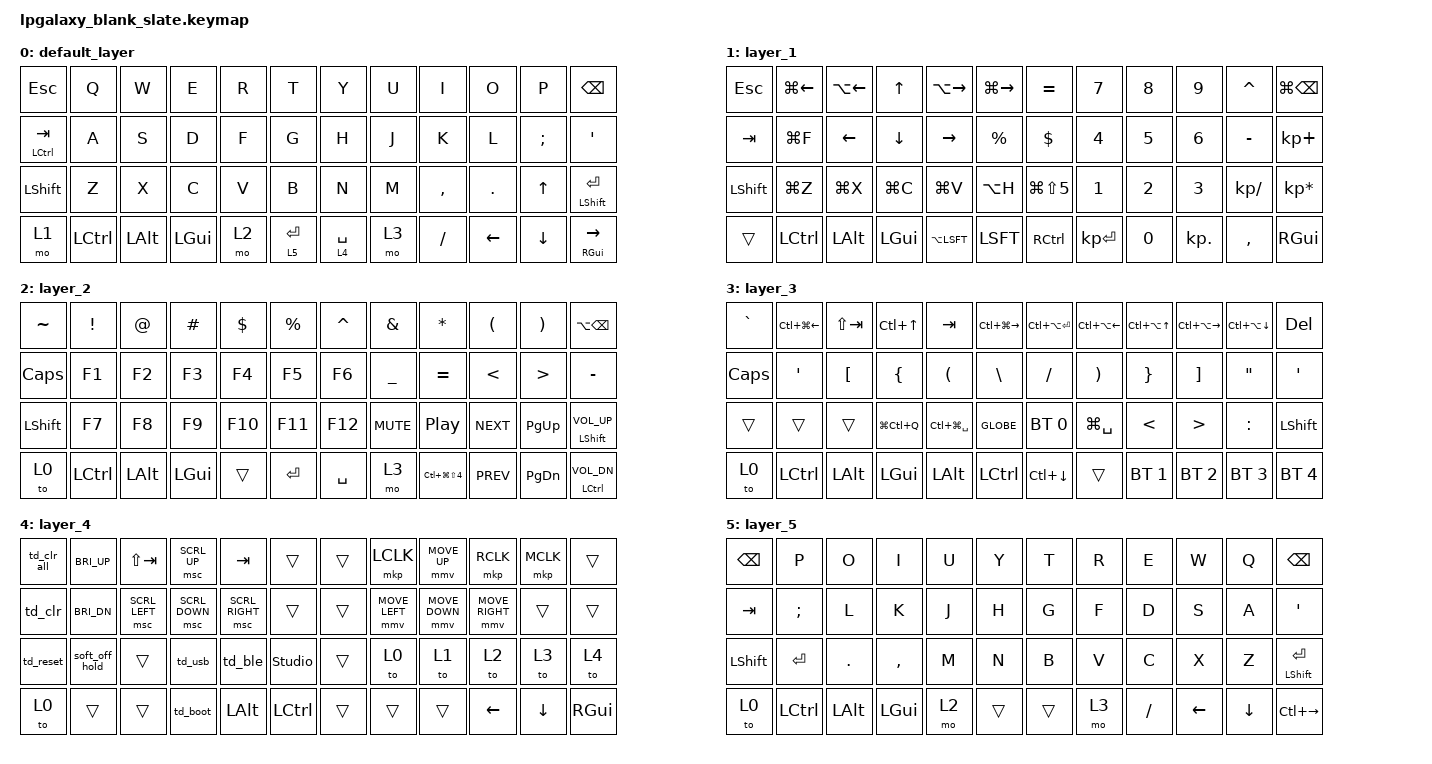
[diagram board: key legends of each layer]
#include <behaviors.dtsi>
#include <dt-bindings/zmk/keys.h>
#include <dt-bindings/zmk/modifiers.h>
/* Project override: increase default max velocities for pointing macros */
#define ZMK_POINTING_DEFAULT_MOVE_VAL 1400  /* default 600 */
#define ZMK_POINTING_DEFAULT_SCRL_VAL 35    /* default 10 */
#include <dt-bindings/zmk/pointing.h>
#include <dt-bindings/zmk/bt.h>
#include <dt-bindings/zmk/outputs.h>
#include <zephyr/dt-bindings/gpio/gpio.h>

/* -----------------------------------------------------
 * Custom key aliases
 * --------------------------------------------------- */
#define SNAP_LEFT      LC(LA(LEFT))
#define SNAP_RIGHT     LC(LA(RIGHT))
#define SNAP_UP        LC(LA(UP))
#define SNAP_DOWN      LC(LA(DOWN))
/* Fill is remapped to Ctrl+Option+Return on the host Mac. */
#define SNAP_FILL      LC(LA(RET))
#define DESK_LEFT      LC(LG(LEFT))
#define DESK_RIGHT     LC(LG(RIGHT))
#define SLEEP_LOCK     LG(LC(Q))
/* Alt+H is mapped to the screenshot tool on the host computer. */
#define SCREENSHOT     LA(H)
/* Ctrl+Cmd+Space shows the macOS Character Viewer, which includes emoji. */
#define EMOJI          LC(LG(SPACE))
#define APP_EXPOSE     LC(DOWN)
#define SHOT_TOOLBAR   LG(LS(N5))
#define SHOT_CLIP      LC(LG(LS(N4)))

/* -----------------------------------------------------
 * Mouse movement / scroll tuning
 * --------------------------------------------------- */
&mmv {
    time-to-max-speed-ms = <250>;      // faster acceleration ramp (default 300)
    acceleration-exponent = <1>;       // linear response (try 1.3–1.5 for smoother)
};

&msc {
    time-to-max-speed-ms = <200>;
    acceleration-exponent = <1>;
};

&lt {
    quick-tap-ms = <200>;
};

&mt {
    quick-tap-ms = <200>;
    tapping-term-ms = <180>;
};

/ {
    behaviors {
        /* Hold for 1 second so soft-off cannot be pressed by accident. */
        soft_off_hold: soft_off_hold {
            compatible = "zmk,behavior-soft-off";
            #binding-cells = <0>;
            hold-time-ms = <1000>;
        };

        /* A single tap does nothing; a second tap within 300 ms runs the action. */
        td_boot: td_boot {
            compatible = "zmk,behavior-tap-dance";
            #binding-cells = <0>;
            tapping-term-ms = <300>;
            bindings = <&none>, <&bootloader>;
        };
        td_reset: td_reset {
            compatible = "zmk,behavior-tap-dance";
            #binding-cells = <0>;
            tapping-term-ms = <300>;
            bindings = <&none>, <&sys_reset>;
        };
        td_clr_all: td_clr_all {
            compatible = "zmk,behavior-tap-dance";
            #binding-cells = <0>;
            tapping-term-ms = <300>;
            bindings = <&none>, <&bt BT_CLR_ALL>;
        };
        td_clr: td_clr {
            compatible = "zmk,behavior-tap-dance";
            #binding-cells = <0>;
            tapping-term-ms = <300>;
            bindings = <&none>, <&bt BT_CLR>;
        };
        td_usb: td_usb {
            compatible = "zmk,behavior-tap-dance";
            #binding-cells = <0>;
            tapping-term-ms = <300>;
            bindings = <&none>, <&out OUT_USB>;
        };
        td_ble: td_ble {
            compatible = "zmk,behavior-tap-dance";
            #binding-cells = <0>;
            tapping-term-ms = <300>;
            bindings = <&none>, <&out OUT_BLE>;
        };
    };
};

/ {
    keys {
        wakeup_key_n: wakeup_key_n {
            gpios = <&gpio0 5 (GPIO_ACTIVE_HIGH | GPIO_PULL_DOWN)>;
        };
    };

    /* N wakes the board from soft off, in addition to the dedicated button. */
    wakeup_n: wakeup_n {
        compatible = "zmk,gpio-key-wakeup-trigger";
        trigger = <&wakeup_key_n>;
        wakeup-source;
        extra-gpios = <&gpio0 6 GPIO_ACTIVE_HIGH>;
    };

    soft_off_wakers {
        wakeup-sources = <&wakeup_source &wakeup_n>;
    };
};

/* -----------------------------------------------------
 * Layers
 * --------------------------------------------------- */
 / {
    keymap {
        compatible = "zmk,keymap";

        /* ---------------------- Layer 0: Base ---------------------- */
        default_layer {
            bindings = <
                &kp ESC         &kp Q         &kp W          &kp E          &kp R           &kp T        &kp Y           &kp U        &kp I             &kp O           &kp P           &kp BKSP
                &mt LCTRL TAB   &kp A         &kp S          &kp D          &kp F           &kp G        &kp H           &kp J        &kp K             &kp L           &kp SEMI        &kp QUOT
                &kp LSHFT       &kp Z         &kp X          &kp C          &kp V           &kp B        &kp N           &kp M        &kp COMMA         &kp DOT         &kp UP          &mt LSHFT RET
                &mo 1           &kp LCTRL     &kp LALT       &kp LGUI       &mo 2           &lt 5 RET    &lt 4 SPACE     &mo 3        &kp FSLH          &kp LEFT        &kp DOWN        &mt RGUI RIGHT
            >;
        };

        /* ---------------------- Layer 1: Numbers / Nav ---------------------- */
        layer_1 {
            bindings = <
                &kp ESC         &kp LG(LEFT)  &kp LA(LEFT)   &kp UP         &kp LA(RIGHT)   &kp LG(RIGHT) &kp EQUAL       &kp N7        &kp N8           &kp N9          &kp CARET       &kp LG(BKSP)
                &kp TAB         &kp LG(F)     &kp LEFT       &kp DOWN       &kp RIGHT       &kp PRCNT    &kp DLLR        &kp N4        &kp N5           &kp N6          &kp MINUS       &kp KP_PLUS
                &kp LSHFT       &kp LG(Z)     &kp LG(X)      &kp LG(C)      &kp LG(V)       &kp SCREENSHOT &kp SHOT_TOOLBAR &kp N1        &kp N2           &kp N3          &kp KP_SLASH    &kp KP_MULTIPLY
                &trans          &kp LCTRL     &kp LALT       &kp LGUI       &kp LA(LSFT)    &kp LSFT     &kp RCTRL       &kp KP_ENTER  &kp N0           &kp KP_DOT      &kp COMMA       &kp RGUI
            >;
        };

        /* ---------------------- Layer 2: Symbols / Media ---------------------- */
        layer_2 {
            bindings = <
                &kp TILDE       &kp EXCL      &kp AT         &kp HASH       &kp DLLR        &kp PRCNT    &kp CARET       &kp AMPS      &kp STAR         &kp LPAR        &kp RPAR        &kp LA(BKSP)
                &kp CAPS        &kp F1        &kp F2         &kp F3         &kp F4          &kp F5       &kp F6          &kp UNDER     &kp EQUAL        &kp LT          &kp GT          &kp MINUS
                &kp LSHFT       &kp F7        &kp F8         &kp F9         &kp F10         &kp F11      &kp F12         &kp C_MUTE    &kp C_PLAY_PAUSE &kp C_NEXT      &kp PG_UP       &mt LSHFT C_VOL_UP
                &to 0           &kp LCTRL     &kp LALT       &kp LGUI       &trans          &kp RET      &kp SPACE       &mo 3         &kp SHOT_CLIP    &kp C_PREV      &kp PG_DN       &mt LCTRL C_VOL_DN
            >;
        };

        /* ---------------------- Layer 3: Window / BT ---------------------- */
        layer_3 {
            bindings = <
                &kp GRAVE       &kp DESK_LEFT &kp LS(TAB)    &kp LC(UP)     &kp TAB         &kp DESK_RIGHT &kp SNAP_FILL &kp SNAP_LEFT &kp SNAP_UP      &kp SNAP_RIGHT  &kp SNAP_DOWN   &kp DEL
                &kp CAPS        &kp QUOT      &kp LBKT       &kp LBRC       &kp LPAR        &kp BSLH       &kp FSLH      &kp RPAR      &kp RBRC         &kp RBKT        &kp DQT         &kp QUOT
                &trans          &trans        &trans         &kp SLEEP_LOCK &kp EMOJI       &kp GLOBE      &bt BT_SEL 0  &kp LG(SPACE) &kp LT           &kp GT          &kp COLON       &kp LSHFT
                &to 0           &kp LCTRL     &kp LALT       &kp LGUI       &kp LALT        &kp LCTRL      &kp APP_EXPOSE &trans        &bt BT_SEL 1     &bt BT_SEL 2    &bt BT_SEL 3    &bt BT_SEL 4
            >;
        };

        /* ---------------------- Layer 4: Mouse ---------------------- */
        layer_4 {
            bindings = <
                &td_clr_all    &kp C_BRI_UP   &kp LS(TAB)    &msc SCRL_UP   &kp TAB         &trans     &trans            &mkp LCLK      &mmv MOVE_UP    &mkp RCLK       &mkp MCLK       &trans
                &td_clr        &kp C_BRI_DN   &msc SCRL_LEFT &msc SCRL_DOWN &msc SCRL_RIGHT &trans     &trans            &mmv MOVE_LEFT &mmv MOVE_DOWN  &mmv MOVE_RIGHT &trans          &trans
                &td_reset      &soft_off_hold &trans         &td_usb        &td_ble         &studio_unlock &trans            &to 0          &to 1           &to 2           &to 3           &to 4
                &to 0          &trans         &trans         &td_boot       &kp LALT        &kp LCTRL  &trans            &trans         &trans          &kp LEFT        &kp DOWN        &kp RGUI
            >;
        };

        /* ---------------------- Layer 5: Mirror / Alt base ---------------------- */
        layer_5 {
            bindings = <
                &kp BKSP       &kp P          &kp O          &kp I          &kp U           &kp Y        &kp T           &kp R          &kp E           &kp W           &kp Q           &kp BKSP
                &kp TAB        &kp SEMI       &kp L          &kp K          &kp J           &kp H        &kp G           &kp F          &kp D           &kp S           &kp A           &kp QUOT
                &kp LSHFT      &kp RET        &kp DOT        &kp COMMA      &kp M           &kp N        &kp B           &kp V          &kp C           &kp X           &kp Z           &mt LSHFT RET
                &to 0          &kp LCTRL      &kp LALT       &kp LGUI       &mo 2           &trans       &trans          &mo 3          &kp FSLH        &kp LEFT        &kp DOWN        &kp LC(RIGHT)
            >;
        };
    };
};
